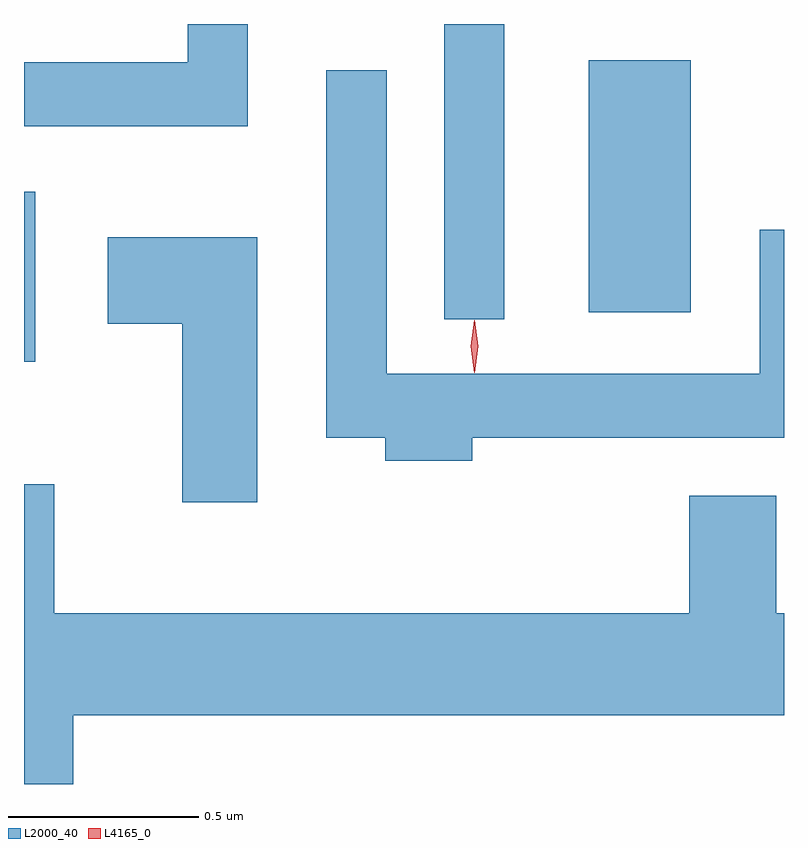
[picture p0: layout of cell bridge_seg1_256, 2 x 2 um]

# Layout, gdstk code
import gdstk
lib = gdstk.Library(unit=1e-6, precision=1e-09)
def R(c, l, rs):  # rectangles x0, y0, x1, y1
    for r in rs: c.add(gdstk.rectangle(r[:2], r[2:], *l))
def P(c, l, *ps):  # polygons
    for p in ps: c.add(gdstk.Polygon(p, *l))
L2000_40 = (2000, 40)
L4165_0 = (4165, 0)

bridge_seg1_256 = lib.new_cell('bridge_seg1_256')
R(bridge_seg1_256, L2000_40, [(963.02,891.626,963.049,892.074), (964.126,891.738,964.284,892.515), (964.506,891.756,964.774,892.419)])
P(bridge_seg1_256, L2000_40, [(963.609,892.515),(963.451,892.515),(963.451,892.414),(963.02,892.414),(963.02,892.246),(963.609,892.246)],
  [(964.199,891.426),(965.02,891.426),(965.02,891.973),(964.956,891.973),(964.956,891.594),(963.974,891.594),(963.974,892.393),(963.816,892.393),(963.816,891.426),(963.971,891.426),(963.971,891.366),(964.199,891.366)],
  [(963.634,891.954),(963.241,891.954),(963.241,891.726),(963.436,891.726),(963.436,891.256),(963.634,891.256)],
  [(963.149,890.696),(965.02,890.696),(965.02,890.964),(964.999,890.964),(964.999,891.274),(964.771,891.274),(964.771,890.964),(963.099,890.964),(963.099,891.304),(963.02,891.304),(963.02,890.515),(963.149,890.515)])
P(bridge_seg1_256, L4165_0, [(964.205,891.597),(964.196,891.667),(964.205,891.736),(964.206,891.736),(964.206,891.736),(964.216,891.667),(964.206,891.597),(964.206,891.597)])

lib.write_gds('bridge_seg1_256.gds')
